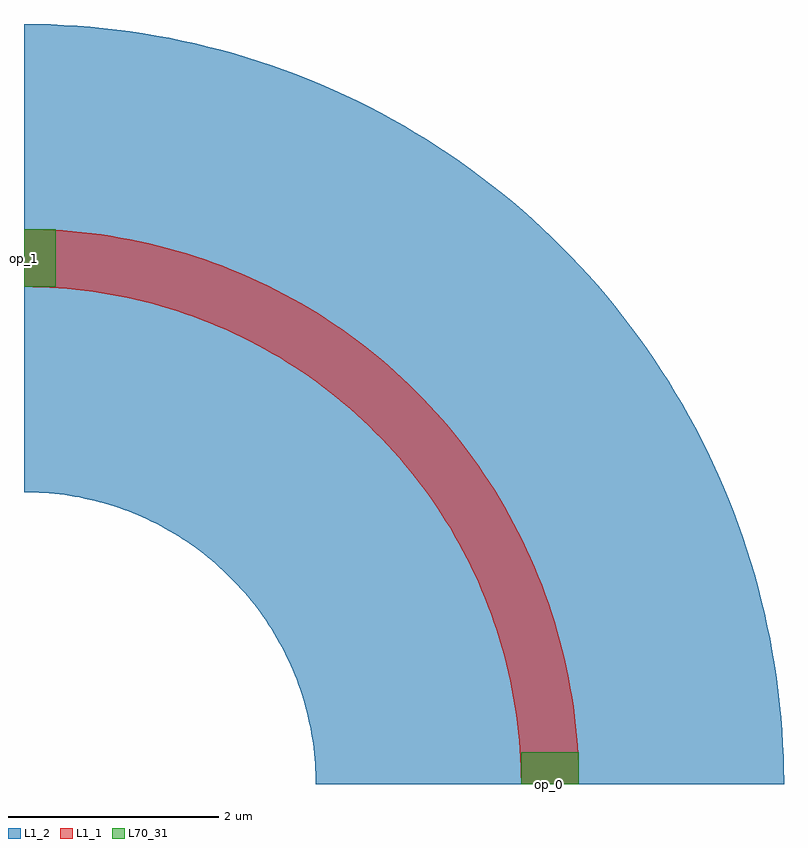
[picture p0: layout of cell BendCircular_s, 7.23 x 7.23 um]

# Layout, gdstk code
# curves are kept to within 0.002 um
import gdstk
lib = gdstk.Library(unit=1e-6, precision=1e-09)
def R(c, l, rs):  # rectangles x0, y0, x1, y1
    for r in rs: c.add(gdstk.rectangle(r[:2], r[2:], *l))
def P(c, l, *ps):  # polygons
    for p in ps: c.add(gdstk.Polygon(p, *l))
L1_1 = (1, 1)
L1_2 = (1, 2)
L70_31 = (70, 31)

c_wg = lib.new_cell('wg')
P(c_wg, L1_1, [(4.725,0),(4.719,0.247),(4.707,0.412),(4.679,0.658),(4.638,0.902),(4.585,1.143),(4.542,1.302),(4.468,1.538),(4.411,1.693),(4.349,1.846),(4.247,2.071),(4.133,2.291),(4.05,2.434),(3.917,2.642),(3.774,2.844),(3.62,3.037),(3.511,3.162),(3.341,3.341),(3.162,3.511),(2.974,3.672),(2.777,3.823),(2.573,3.963),(2.434,4.05),(2.291,4.133),(2.071,4.247),(1.922,4.316),(1.693,4.411),(1.46,4.494),(1.223,4.564),(0.982,4.622),(0.739,4.667),(0.494,4.699),(0.247,4.719),(0,4.725),(0,5.275),(0.276,5.268),(0.551,5.246),(0.643,5.236),(0.825,5.21),(1.097,5.16),(1.365,5.095),(1.454,5.071),(1.63,5.017),(1.89,4.925),(2.146,4.819),(2.395,4.7),(2.638,4.568),(2.717,4.522),(2.873,4.424),(3.101,4.268),(3.32,4.099),(3.53,3.92),(3.73,3.73),(3.92,3.53),(4.041,3.391),(4.157,3.248),(4.321,3.026),(4.424,2.873),(4.522,2.717),(4.658,2.476),(4.741,2.312),(4.819,2.146),(4.925,1.89),(4.988,1.717),(5.045,1.542),(5.095,1.365),(5.14,1.187),(5.195,0.916),(5.236,0.643),(5.255,0.46),(5.268,0.276),(5.275,0)])
P(c_wg, L1_2, [(2.775,0),(2.771,0.145),(2.76,0.29),(2.741,0.434),(2.724,0.529),(2.704,0.624),(2.654,0.811),(2.608,0.949),(2.573,1.04),(2.515,1.173),(2.45,1.303),(2.379,1.429),(2.301,1.552),(2.245,1.631),(2.157,1.746),(2.094,1.821),(1.996,1.928),(1.928,1.996),(1.784,2.126),(1.67,2.216),(1.552,2.301),(1.429,2.379),(1.303,2.45),(1.173,2.515),(1.04,2.573),(0.949,2.608),(0.811,2.654),(0.624,2.704),(0.529,2.724),(0.434,2.741),(0.29,2.76),(0.145,2.771),(0,2.775),(0,7.225),(0.252,7.221),(0.504,7.207),(0.755,7.186),(1.006,7.155),(1.255,7.115),(1.379,7.092),(1.625,7.04),(1.87,6.979),(2.112,6.909),(2.352,6.831),(2.471,6.789),(2.707,6.699),(2.939,6.6),(3.167,6.494),(3.392,6.379),(3.613,6.257),(3.829,6.127),(4.04,5.99),(4.247,5.845),(4.448,5.693),(4.644,5.535),(4.835,5.369),(5.019,5.197),(5.197,5.019),(5.369,4.835),(5.453,4.74),(5.615,4.547),(5.845,4.247),(5.99,4.04),(6.127,3.829),(6.257,3.613),(6.379,3.392),(6.494,3.167),(6.651,2.823),(6.745,2.589),(6.789,2.471),(6.871,2.233),(6.945,1.992),(6.979,1.87),(7.04,1.625),(7.092,1.379),(7.115,1.255),(7.155,1.006),(7.186,0.755),(7.198,0.63),(7.221,0.252),(7.225,0)])
R(c_wg, L70_31, [(4.725,0,5.275,0.3), (0,4.725,0.3,5.275)])
c_wg.add(gdstk.Label('op_0', (5,0), layer=70, texttype=41))
c_wg.add(gdstk.Label('op_1', (0,5), layer=70, texttype=41))

bendcircular_s = lib.new_cell('BendCircular_s')
R(bendcircular_s, L70_31, [(4.725,0,5.275,0.3), (0,4.725,0.3,5.275)])
bendcircular_s.add(gdstk.Reference(c_wg, (0,0)))
bendcircular_s.add(gdstk.Label('op_0', (5,0), layer=70, texttype=41))
bendcircular_s.add(gdstk.Label('op_1', (0,5), layer=70, texttype=41))

lib.write_gds('BendCircular_s.gds')
